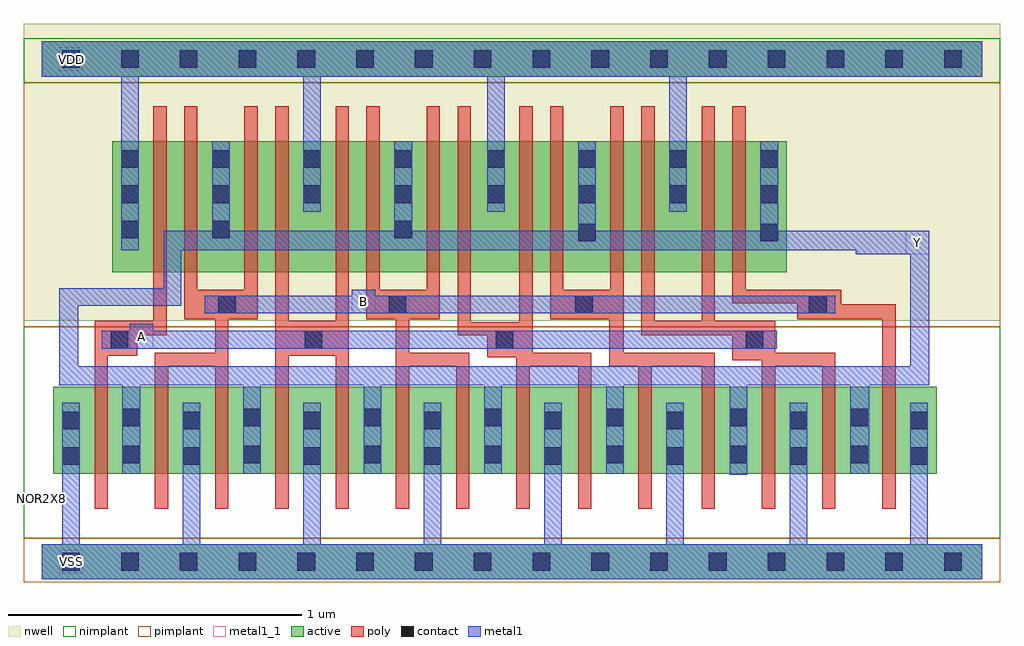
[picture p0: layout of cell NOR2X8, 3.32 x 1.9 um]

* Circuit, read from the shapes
.subckt NOR2X8 A B VDD VSS Y
M1 Y A VSS VSS nfet w=0.295u l=0.045u m=7
M2 VSS B Y VSS nfet w=0.295u l=0.045u m=7
M3 n1 A VDD VDD pfet w=0.445u l=0.045u
M4 Y B n1 VDD pfet w=0.445u l=0.045u
M5 n2 B Y VDD pfet w=0.445u l=0.045u
M6 VDD A n2 VDD pfet w=0.445u l=0.045u
M7 n3 A VDD VDD pfet w=0.445u l=0.045u
M8 Y B n3 VDD pfet w=0.445u l=0.045u
M9 n4 B Y VDD pfet w=0.445u l=0.045u
M10 VDD A n4 VDD pfet w=0.445u l=0.045u
M11 n5 A VDD VDD pfet w=0.445u l=0.045u
M12 Y B n5 VDD pfet w=0.445u l=0.045u
M13 n6 B Y VDD pfet w=0.445u l=0.045u
M14 VDD A n6 VDD pfet w=0.445u l=0.045u
M15 n7 A VDD VDD pfet w=0.445u l=0.045u
M16 Y B n7 VDD pfet w=0.445u l=0.045u
.ends

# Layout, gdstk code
import gdstk
lib = gdstk.Library(unit=1e-6, precision=5e-10)
def R(c, l, rs):  # rectangles x0, y0, x1, y1
    for r in rs: c.add(gdstk.rectangle(r[:2], r[2:], *l))
def A(c, l, x, y, w, h, nx, ny, dx, dy):  # array of equal rectangles
    R(c, l, [(x+i*dx, y+j*dy, x+i*dx+w, y+j*dy+h) for i in range(nx) for j in range(ny)])
def P(c, l, *ps):  # polygons
    for p in ps: c.add(gdstk.Polygon(p, *l))
active = (1, 0)
nwell = (2, 0)
poly = (3, 0)
nimplant = (4, 0)
pimplant = (5, 0)
contact = (6, 0)
metal1 = (7, 0)
metal1_1 = (7, 1)

nor2x8 = lib.new_cell('NOR2X8')
R(nor2x8, active, [(0,-0.065,3.2,0.055), (0.04,0.295,3.045,0.59), (0.24,0.98,2.535,1.425), (0,1.645,3.2,1.765)])
R(nor2x8, nwell, [(-0.06,0.815,3.26,1.825)])
P(nor2x8, poly, [(1.045,1.545),(1,1.545),(1,0.815),(0.84,0.815),(0.84,1.545),(0.795,1.545),(0.795,0.175),(0.84,0.175),(0.84,0.695),(1,0.695),(1,0.175),(1.045,0.175)],
  [(2.29,0.705),(1.98,0.705),(1.98,1.545),(1.935,1.545),(1.935,0.92),(1.775,0.92),(1.775,1.545),(1.73,1.545),(1.73,0.82),(1.93,0.82),(1.93,0.66),(2.03,0.66),(2.03,0.175),(2.075,0.175),(2.075,0.66),(2.245,0.66),(2.245,0.175),(2.29,0.175)],
  [(1.455,0.705),(1.25,0.705),(1.25,0.82),(1.355,0.82),(1.355,1.545),(1.31,1.545),(1.31,0.92),(1.15,0.92),(1.15,1.545),(1.105,1.545),(1.105,0.82),(1.205,0.82),(1.205,0.175),(1.25,0.175),(1.25,0.66),(1.41,0.66),(1.41,0.175),(1.455,0.175)],
  [(0.425,1.545),(0.38,1.545),(0.38,0.815),(0.18,0.815),(0.18,0.175),(0.225,0.175),(0.225,0.695),(0.325,0.695),(0.325,0.765),(0.425,0.765)],
  [(0.735,1.545),(0.69,1.545),(0.69,0.92),(0.53,0.92),(0.53,1.545),(0.485,1.545),(0.485,0.82),(0.59,0.82),(0.59,0.705),(0.385,0.705),(0.385,0.175),(0.43,0.175),(0.43,0.66),(0.59,0.66),(0.59,0.175),(0.635,0.175),(0.635,0.82),(0.735,0.82)],
  [(2.7,0.705),(2.495,0.705),(2.495,0.815),(2.29,0.815),(2.29,1.545),(2.245,1.545),(2.245,0.815),(2.085,0.815),(2.085,1.545),(2.04,1.545),(2.04,0.765),(2.35,0.765),(2.35,0.68),(2.45,0.68),(2.45,0.175),(2.495,0.175),(2.495,0.66),(2.655,0.66),(2.655,0.175),(2.7,0.175)],
  [(2.905,0.87),(2.72,0.87),(2.72,0.92),(2.395,0.92),(2.395,1.545),(2.35,1.545),(2.35,0.875),(2.57,0.875),(2.57,0.82),(2.86,0.82),(2.86,0.175),(2.905,0.175)],
  [(1.87,0.705),(1.67,0.705),(1.67,1.545),(1.625,1.545),(1.625,0.81),(1.46,0.81),(1.46,1.545),(1.415,1.545),(1.415,0.765),(1.515,0.765),(1.515,0.69),(1.615,0.69),(1.615,0.175),(1.66,0.175),(1.66,0.66),(1.825,0.66),(1.825,0.175),(1.87,0.175)])
R(nor2x8, nimplant, [(-0.06,0.075,3.26,0.795), (-0.06,1.625,3.26,1.775)])
R(nor2x8, pimplant, [(-0.06,-0.075,3.26,0.075), (-0.06,0.795,3.26,1.625)])
A(nor2x8, contact, 0.07, -0.035, 0.06, 0.06, 16, 1, 0.2, 0)
A(nor2x8, contact, 0.07, 0.325, 0.06, 0.06, 5, 2, 0.41, 0.12)
A(nor2x8, contact, 0.275, 0.33, 0.06, 0.06, 4, 2, 0.41, 0.125)
A(nor2x8, contact, 0.27, 1.215, 0.06, 0.06, 4, 2, 0.31, 0.12)
A(nor2x8, contact, 1.515, 1.215, 0.06, 0.06, 4, 2, 0.31, 0.12)
A(nor2x8, contact, 0.07, 1.675, 0.06, 0.06, 12, 1, 0.2, 0)
A(nor2x8, contact, 2.27, 1.675, 0.06, 0.06, 5, 1, 0.2, 0)
R(nor2x8, contact, [(2.125,0.325,2.185,0.385), (2.545,0.325,2.605,0.385), (2.955,0.325,3.015,0.385), (1.92,0.33,1.98,0.39), (2.34,0.33,2.4,0.39), (2.75,0.33,2.81,0.39), (2.125,0.445,2.185,0.505), (2.545,0.445,2.605,0.505), (2.955,0.445,3.015,0.505), (1.92,0.455,1.98,0.515), (2.34,0.455,2.4,0.515), (2.75,0.455,2.81,0.515), (0.235,0.72,0.295,0.78), (0.895,0.72,0.955,0.78), (1.545,0.72,1.605,0.78), (2.395,0.72,2.455,0.78), (0.6,0.84,0.66,0.9), (1.18,0.84,1.24,0.9), (1.815,0.84,1.875,0.9), (2.61,0.84,2.67,0.9), (1.825,1.085,1.885,1.145), (2.445,1.085,2.505,1.145), (0.27,1.095,0.33,1.155), (0.58,1.095,0.64,1.155), (1.2,1.095,1.26,1.155)])
P(nor2x8, metal1, [(3.2,0.055),(3.015,0.055),(3.015,0.535),(2.955,0.535),(2.955,0.055),(2.605,0.055),(2.605,0.535),(2.545,0.535),(2.545,0.055),(2.185,0.055),(2.185,0.535),(2.125,0.535),(2.125,0.055),(1.77,0.055),(1.77,0.535),(1.71,0.535),(1.71,0.055),(1.36,0.055),(1.36,0.535),(1.3,0.535),(1.3,0.055),(0.95,0.055),(0.95,0.535),(0.89,0.535),(0.89,0.055),(0.54,0.055),(0.54,0.535),(0.48,0.535),(0.48,0.055),(0.13,0.055),(0.13,0.535),(0.07,0.535),(0.07,0.055),(0,0.055),(0,-0.065),(3.2,-0.065)],
  [(3.2,1.765),(0,1.765),(0,1.645),(0.27,1.645),(0.27,1.055),(0.33,1.055),(0.33,1.645),(0.89,1.645),(0.89,1.185),(0.95,1.185),(0.95,1.645),(1.515,1.645),(1.515,1.185),(1.575,1.185),(1.575,1.645),(2.135,1.645),(2.135,1.185),(2.195,1.185),(2.195,1.645),(3.2,1.645)],
  [(3.02,1.12),(2.955,1.12),(2.955,0.66),(0.125,0.66),(0.125,0.865),(0.475,0.865),(0.475,1.055),(2.77,1.055),(2.77,1.04),(2.955,1.04),(2.955,1.12),(2.505,1.12),(2.505,1.425),(2.445,1.425),(2.445,1.12),(1.885,1.12),(1.885,1.425),(1.825,1.425),(1.825,1.12),(1.26,1.12),(1.26,1.425),(1.2,1.425),(1.2,1.12),(0.64,1.12),(0.64,1.425),(0.58,1.425),(0.58,1.12),(0.415,1.12),(0.415,0.925),(0.06,0.925),(0.06,0.595),(0.275,0.595),(0.275,0.295),(0.335,0.295),(0.335,0.595),(0.685,0.595),(0.685,0.295),(0.745,0.295),(0.745,0.595),(1.095,0.595),(1.095,0.295),(1.155,0.295),(1.155,0.595),(1.505,0.595),(1.505,0.295),(1.565,0.295),(1.565,0.595),(1.92,0.595),(1.92,0.295),(1.98,0.295),(1.98,0.595),(2.34,0.595),(2.34,0.29),(2.4,0.29),(2.4,0.595),(2.75,0.595),(2.75,0.295),(2.815,0.295),(2.815,0.595),(3.02,0.595)],
  [(2.7,0.9),(1.135,0.9),(1.135,0.92),(1.055,0.92),(1.055,0.9),(0.555,0.9),(0.555,0.84),(2.7,0.84)],
  [(2.5,0.78),(0.38,0.78),(0.38,0.805),(0.3,0.805),(0.3,0.78),(0.205,0.78),(0.205,0.72),(2.5,0.72)])
R(nor2x8, metal1_1, [(0.06,-0.045,0.14,0.035), (0.3,0.72,0.38,0.8), (1.055,0.84,1.135,0.92), (2.94,1.04,3.02,1.12), (0.06,1.665,0.14,1.745)])
nor2x8.add(gdstk.Label('VSS', (0.1,-0.005), layer=7, texttype=1))
nor2x8.add(gdstk.Label('Y', (2.98,1.08), layer=7, texttype=1))
nor2x8.add(gdstk.Label('A', (0.34,0.76), layer=7, texttype=1))
nor2x8.add(gdstk.Label('B', (1.095,0.88), layer=7, texttype=1))
nor2x8.add(gdstk.Label('VDD', (0.1,1.705), layer=7, texttype=1))
nor2x8.add(gdstk.Label('NOR2X8', (0,0.21), layer=63, texttype=0))

lib.write_gds('NOR2X8.gds')
